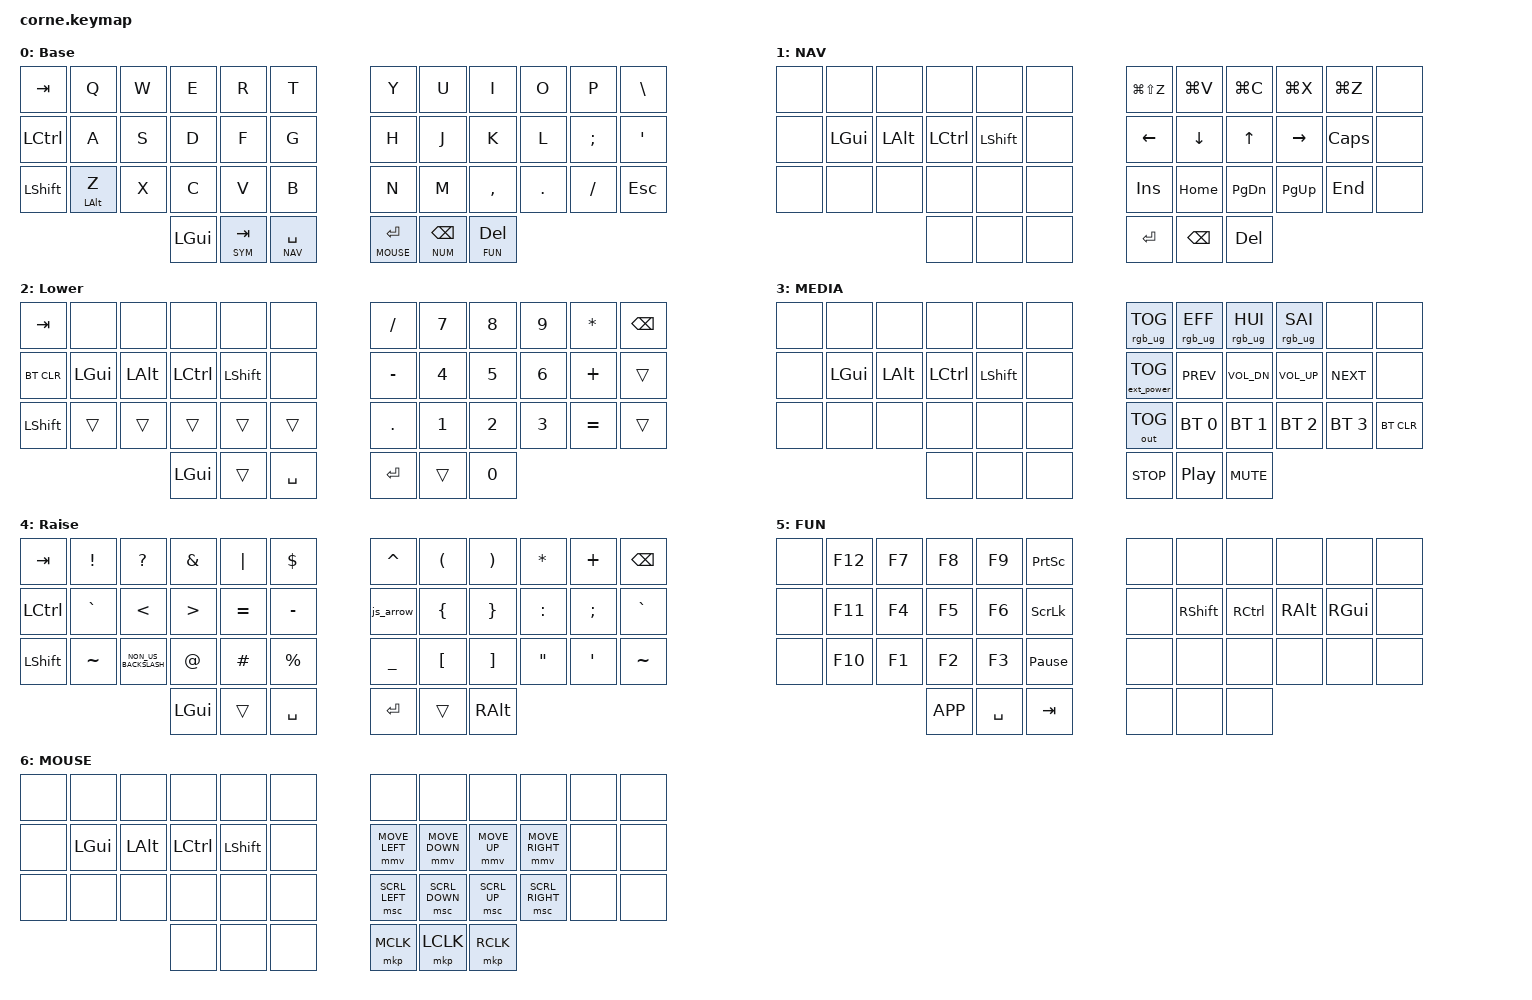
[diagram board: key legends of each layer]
/*
 * Copyright (c) 2020 The ZMK Contributors
 *
 * SPDX-License-Identifier: MIT
 */

//
//   Miryoku-style layout — QWERTY base, vim arrows (HJKL), GACS home row mods
//   Adapted from TOTEM config for Corne (42-key)
//
//   Layer 0: BASE    — QWERTY + home row mods
//   Layer 1: NAV     — vim arrows, clipboard, nav (hold SPACE)
//   Layer 2: NUM     — numpad left hand (hold BSPC)
//   Layer 3: MEDIA   — media, BT, RGB (hold ESC)
//   Layer 4: SYM     — symbols left hand (hold ENTER)
//   Layer 5: FUN     — function keys left hand (hold DEL)
//   Layer 6: MOUSE   — mouse movement, scroll, buttons (hold TAB)

#include <behaviors.dtsi>
#include <dt-bindings/zmk/bt.h>
#include <dt-bindings/zmk/ext_power.h>
#include <dt-bindings/zmk/keys.h>
#include <dt-bindings/zmk/outputs.h>
#include <dt-bindings/zmk/pointing.h>
#include <dt-bindings/zmk/rgb.h>

#define BASE  0
#define NAV   1
#define NUM   2
#define MEDIA 3
#define SYM   4
#define FUN   5
#define MOUSE 6

// Corne key positions (42 keys):
// Row 0:  0  1  2  3  4  5    6  7  8  9  10  11
// Row 1: 12 13 14 15 16 17   18 19 20 21  22  23
// Row 2: 24 25 26 27 28 29   30 31 32 33  34  35
// Thumb:          36 37 38   39 40 41

&mt {
    flavor = "tap-preferred";
    tapping-term-ms = <200>;
    quick-tap-ms = <175>;
    require-prior-idle-ms = <150>;
};

&lt {
    flavor = "tap-preferred";
    tapping-term-ms = <150>;
    quick-tap-ms = <200>;
    require-prior-idle-ms = <125>;
    retro-tap;
};

/ {
    combos {
        compatible = "zmk,combos";

        // -- Tier 1: Essential --

        combo_caps_word {
            bindings = <&caps_word>;
            key-positions = <16 19>;        // F + J (index home row)
            timeout-ms = <30>;
            require-prior-idle-ms = <150>;
        };

        combo_esc {
            bindings = <&kp ESC>;
            key-positions = <2 3>;          // W + E
            timeout-ms = <30>;
            require-prior-idle-ms = <150>;
        };

        combo_bspc {
            bindings = <&kp BSPC>;
            key-positions = <8 9>;          // I + O
            timeout-ms = <30>;
            require-prior-idle-ms = <150>;
        };

        combo_del {
            bindings = <&kp DEL>;
            key-positions = <9 10>;         // O + P
            timeout-ms = <30>;
            require-prior-idle-ms = <150>;
        };

        // -- Tier 2: High Value --

        combo_tab {
            bindings = <&kp TAB>;
            key-positions = <14 15>;        // S + D
            timeout-ms = <30>;
            require-prior-idle-ms = <150>;
        };

        combo_enter {
            bindings = <&kp RET>;
            key-positions = <20 21>;        // K + L
            timeout-ms = <30>;
            require-prior-idle-ms = <150>;
        };

        combo_copy {
            bindings = <&kp LG(C)>;
            key-positions = <26 27>;        // X + C
            timeout-ms = <30>;
            require-prior-idle-ms = <150>;
        };

        combo_paste {
            bindings = <&kp LG(V)>;
            key-positions = <27 28>;        // C + V
            timeout-ms = <30>;
            require-prior-idle-ms = <150>;
        };

        combo_cut {
            bindings = <&kp LG(X)>;
            key-positions = <26 28>;        // X + V (skip middle)
            timeout-ms = <30>;
            require-prior-idle-ms = <150>;
        };

        // -- Tier 3: Vertical Symbol Combos --

        combo_minus {
            bindings = <&kp MINUS>;
            key-positions = <19 31>;        // J + M (right index vertical)
            timeout-ms = <40>;
            require-prior-idle-ms = <100>;
        };

        combo_underscore {
            bindings = <&kp UNDER>;
            key-positions = <18 30>;        // H + N (right inner vertical)
            timeout-ms = <40>;
            require-prior-idle-ms = <100>;
        };

        combo_equal {
            bindings = <&kp EQUAL>;
            key-positions = <16 28>;        // F + V (left index vertical)
            timeout-ms = <40>;
            require-prior-idle-ms = <100>;
        };

        combo_grave {
            bindings = <&kp GRAVE>;
            key-positions = <14 26>;        // S + X (left ring vertical)
            timeout-ms = <40>;
            require-prior-idle-ms = <100>;
        };

        combo_semi {
            bindings = <&kp SEMI>;
            key-positions = <21 22>;        // L + ' (right ring+pinky home)
            timeout-ms = <30>;
            require-prior-idle-ms = <150>;
        };
    };

    macros {
        hyper: hyper {
            compatible = "zmk,behavior-macro";
            #binding-cells = <0>;
            bindings =
                <&macro_press &kp LGUI &kp LALT &kp LCTRL &kp LSHFT>,
                <&macro_pause_for_release>,
                <&macro_release &kp LGUI &kp LALT &kp LCTRL &kp LSHFT>;
        };

        js_arrow: js_arrow {
            compatible = "zmk,behavior-macro";
            #binding-cells = <0>;
            bindings = <&kp EQUAL &kp GREATER_THAN>;
            label = "JS_ARROW";
        };
    };

    conditional_layers {
        compatible = "zmk,conditional-layers";
        tri_layer {
            if-layers = <NUM SYM>;
            then-layer = <MEDIA>;
        };
    };

    keymap {
        compatible = "zmk,keymap";

        base_layer {
            display-name = "Base";
            bindings = <
&kp TAB    &kp Q         &kp W  &kp E     &kp R  &kp T        &kp Y    &kp U  &kp I      &kp O    &kp P     &kp BSLH
&kp LCTRL  &kp A         &kp S  &kp D     &kp F  &kp G        &kp H    &kp J  &kp K      &kp L    &kp SEMI  &kp SQT
&kp LSHFT  &mt LALT Z    &kp X  &kp C     &kp V  &kp B        &kp N    &kp M  &kp COMMA  &kp DOT  &kp FSLH  &kp ESC
                         &kp LGUI  &lt SYM TAB  &lt NAV SPACE    &lt MOUSE RET  &lt NUM BSPC  &lt FUN DEL
            >;
        };

        nav_layer {
            display-name = "NAV";
            bindings = <
&none          &none       &none       &none         &none         &none          &kp LG(LS(Z)) &kp LG(V)   &kp LG(C)     &kp LG(X)    &kp LG(Z)    &none
&none          &kp LGUI    &kp LALT    &kp LCTRL     &kp LSHFT     &none          &kp LEFT    &kp DOWN      &kp UP        &kp RIGHT    &kp CAPS     &none
&none          &none       &none       &none         &none         &none          &kp INS     &kp HOME      &kp PG_DN     &kp PG_UP    &kp END      &none
                                       &none         &none         &none          &kp RET     &kp BSPC      &kp DEL
            >;
        };

        num_layer {
            display-name = "Lower";
            bindings = <
&kp TAB     &none         &none         &none      &none           &none        &kp SLASH  &kp N7        &kp N8        &kp N9        &kp ASTERISK  &kp BSPC
&bt BT_CLR  &kp LEFT_GUI  &kp LEFT_ALT  &kp LCTRL  &kp LEFT_SHIFT  &none        &kp MINUS  &kp NUMBER_4  &kp N5        &kp NUMBER_6  &kp PLUS      &trans
&kp LSHFT   &trans        &trans        &trans     &trans          &trans       &kp DOT    &kp NUMBER_1  &kp NUMBER_2  &kp NUMBER_3  &kp EQUAL     &trans
                                        &kp LGUI   &trans          &kp SPACE    &kp RET    &trans        &kp N0
            >;
        };

        media_layer {
            display-name = "MEDIA";
            bindings = <
&none          &none       &none       &none         &none         &none          &rgb_ug RGB_TOG &rgb_ug RGB_EFF &rgb_ug RGB_HUI &rgb_ug RGB_SAI &none      &none
&none          &kp LGUI    &kp LALT    &kp LCTRL     &kp LSHFT     &none          &ext_power EP_TOG &kp C_PREV  &kp C_VOL_DN  &kp C_VOL_UP &kp C_NEXT   &none
&none          &none       &none       &none         &none         &none          &out OUT_TOG &bt BT_SEL 0  &bt BT_SEL 1  &bt BT_SEL 2 &bt BT_SEL 3 &bt BT_CLR
                                       &none         &none         &none          &kp C_STOP  &kp C_PP      &kp C_MUTE
            >;
        };

        sym_layer {
            display-name = "Raise";
            bindings = <
&kp TAB    &kp EXCL   &kp QUESTION          &kp AMPS          &kp PIPE   &kp DOLLAR    &kp CARET  &kp LEFT_PARENTHESIS  &kp RIGHT_PARENTHESIS  &kp ASTERISK       &kp PLUS       &kp BSPC
&kp LCTRL  &kp GRAVE  &kp LESS_THAN         &kp GREATER_THAN  &kp EQUAL  &kp MINUS     &js_arrow  &kp LEFT_BRACE        &kp RIGHT_BRACE        &kp COLON          &kp SEMICOLON  &kp GRAVE
&kp LSHFT  &kp TILDE  &kp NON_US_BACKSLASH  &kp AT            &kp HASH   &kp PRCNT     &kp UNDER  &kp LEFT_BRACKET      &kp RIGHT_BRACKET      &kp DOUBLE_QUOTES  &kp SQT        &kp TILDE
                                            &kp LGUI          &trans     &kp SPACE     &kp RET    &trans                &kp RALT
            >;
        };

        fun_layer {
            display-name = "FUN";
            bindings = <
&none          &kp F12     &kp F7      &kp F8        &kp F9        &kp PSCRN      &none       &none         &none         &none        &none        &none
&none          &kp F11     &kp F4      &kp F5        &kp F6        &kp SLCK       &none       &kp RSHFT     &kp RCTRL     &kp RALT     &kp RGUI     &none
&none          &kp F10     &kp F1      &kp F2        &kp F3        &kp PAUSE_BREAK &none      &none         &none         &none        &none        &none
                                       &kp K_APP     &kp SPACE     &kp TAB        &none       &none         &none
            >;
        };

        mouse_layer {
            display-name = "MOUSE";
            bindings = <
&none          &none       &none       &none         &none         &none          &none            &none            &none          &none             &none        &none
&none          &kp LGUI    &kp LALT    &kp LCTRL     &kp LSHFT     &none          &mmv MOVE_LEFT   &mmv MOVE_DOWN   &mmv MOVE_UP   &mmv MOVE_RIGHT   &none        &none
&none          &none       &none       &none         &none         &none          &msc SCRL_LEFT   &msc SCRL_DOWN   &msc SCRL_UP   &msc SCRL_RIGHT   &none        &none
                                       &none         &none         &none          &mkp MCLK        &mkp LCLK        &mkp RCLK
            >;
        };
    };
};
